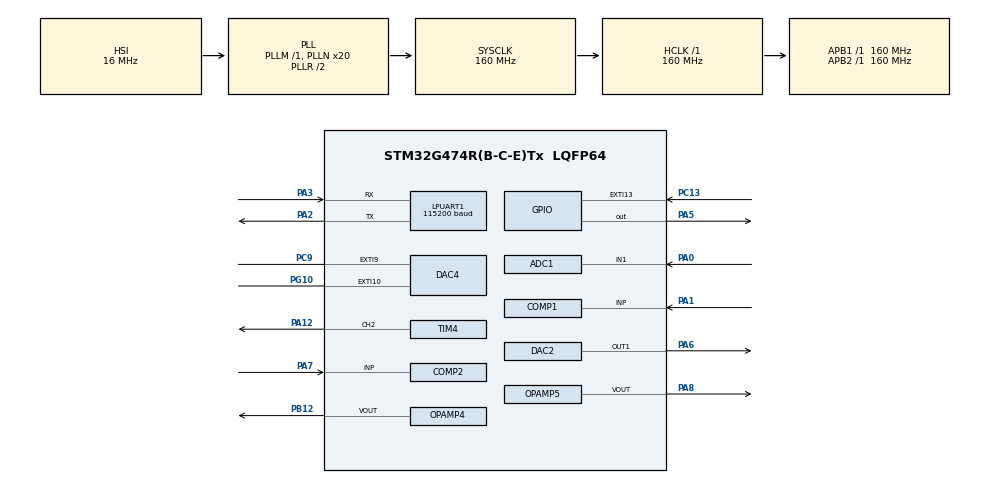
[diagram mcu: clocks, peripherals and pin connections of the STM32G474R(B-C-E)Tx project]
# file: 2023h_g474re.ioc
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ADC1.Channel-0\#ChannelRegularConversion=ADC_CHANNEL_1
ADC1.ContinuousConvMode=DISABLE
ADC1.DataAlign=ADC_DATAALIGN_LEFT
ADC1.ExternalTrigConv=ADC_EXTERNALTRIG_T3_TRGO
ADC1.NbrOfConversionFlag=1
ADC1.OffsetNumber-0\#ChannelRegularConversion=ADC_OFFSET_NONE
ADC1.Rank-0\#ChannelRegularConversion=1
ADC1.SamplingTime-0\#ChannelRegularConversion=ADC_SAMPLETIME_6CYCLES_5
ADC1.master=1
COMP1.Hysteresis=COMP_HYSTERESIS_50MV
COMP1.TriggerMode=COMP_TRIGGERMODE_IT_RISING
COMP2.Hysteresis=COMP_HYSTERESIS_20MV
COMP2.TriggerMode=COMP_TRIGGERMODE_IT_RISING
DAC2.DAC_SampleAndHold-DAC_OUT1=DAC_SAMPLEANDHOLD_DISABLE
DAC2.DAC_Trigger_OUT1-DAC_OUT1=DAC_TRIGGER_NONE
DAC4.DAC_Channel-DAC_OUT2_Int=DAC_CHANNEL_2
DAC4.DAC_Trigger_OUT1-DAC_OUT1_Int=DAC_TRIGGER_EXT_IT9
DAC4.DAC_Trigger_OUT2-DAC_OUT2_Int=DAC_TRIGGER_EXT_IT9
Dma.ADC1.0.Direction=DMA_PERIPH_TO_MEMORY
Dma.ADC1.0.EventEnable=DISABLE
Dma.ADC1.0.Instance=DMA1_Channel1
Dma.ADC1.0.MemDataAlignment=DMA_MDATAALIGN_HALFWORD
Dma.ADC1.0.MemInc=DMA_MINC_ENABLE
Dma.ADC1.0.Mode=DMA_NORMAL
Dma.ADC1.0.PeriphDataAlignment=DMA_PDATAALIGN_HALFWORD
Dma.ADC1.0.PeriphInc=DMA_PINC_DISABLE
Dma.ADC1.0.Polarity=HAL_DMAMUX_REQ_GEN_RISING
Dma.ADC1.0.Priority=DMA_PRIORITY_VERY_HIGH
Dma.ADC1.0.RequestNumber=1
Dma.ADC1.0.SignalID=NONE
Dma.ADC1.0.SyncEnable=DISABLE
Dma.ADC1.0.SyncPolarity=HAL_DMAMUX_SYNC_NO_EVENT
Dma.ADC1.0.SyncRequestNumber=1
Dma.ADC1.0.SyncSignalID=NONE
Dma.DAC4_CH1.1.Direction=DMA_MEMORY_TO_PERIPH
Dma.DAC4_CH1.1.EventEnable=DISABLE
Dma.DAC4_CH1.1.Instance=DMA1_Channel2
Dma.DAC4_CH1.1.MemDataAlignment=DMA_MDATAALIGN_HALFWORD
Dma.DAC4_CH1.1.MemInc=DMA_MINC_ENABLE
Dma.DAC4_CH1.1.Mode=DMA_CIRCULAR
Dma.DAC4_CH1.1.PeriphDataAlignment=DMA_PDATAALIGN_WORD
Dma.DAC4_CH1.1.PeriphInc=DMA_PINC_DISABLE
Dma.DAC4_CH1.1.Polarity=HAL_DMAMUX_REQ_GEN_RISING
Dma.DAC4_CH1.1.Priority=DMA_PRIORITY_VERY_HIGH
Dma.DAC4_CH1.1.RequestNumber=1
Dma.DAC4_CH1.1.SignalID=NONE
Dma.DAC4_CH1.1.SyncEnable=DISABLE
Dma.DAC4_CH1.1.SyncPolarity=HAL_DMAMUX_SYNC_NO_EVENT
Dma.DAC4_CH1.1.SyncRequestNumber=1
Dma.DAC4_CH1.1.SyncSignalID=NONE
Dma.DAC4_CH2.2.Direction=DMA_MEMORY_TO_PERIPH
Dma.DAC4_CH2.2.EventEnable=DISABLE
Dma.DAC4_CH2.2.Instance=DMA1_Channel3
Dma.DAC4_CH2.2.MemDataAlignment=DMA_MDATAALIGN_HALFWORD
Dma.DAC4_CH2.2.MemInc=DMA_MINC_ENABLE
Dma.DAC4_CH2.2.Mode=DMA_CIRCULAR
Dma.DAC4_CH2.2.PeriphDataAlignment=DMA_PDATAALIGN_WORD
Dma.DAC4_CH2.2.PeriphInc=DMA_PINC_DISABLE
Dma.DAC4_CH2.2.Polarity=HAL_DMAMUX_REQ_GEN_RISING
Dma.DAC4_CH2.2.Priority=DMA_PRIORITY_VERY_HIGH
Dma.DAC4_CH2.2.RequestNumber=1
Dma.DAC4_CH2.2.SignalID=NONE
Dma.DAC4_CH2.2.SyncEnable=DISABLE
Dma.DAC4_CH2.2.SyncPolarity=HAL_DMAMUX_SYNC_NO_EVENT
Dma.DAC4_CH2.2.SyncRequestNumber=1
Dma.DAC4_CH2.2.SyncSignalID=NONE
Dma.Request0=ADC1
Dma.Request1=DAC4_CH1
Dma.Request2=DAC4_CH2
LPUART1.BaudRate=115200
LPUART1.FIFOMode=UART_FIFOMODE_ENABLE
Mcu.Family=STM32G4
Mcu.Name=STM32G474R(B-C-E)Tx
Mcu.Package=LQFP64
NUCLEO-G474RE.BUTTON=0
NUCLEO-G474RE.LD2=true
NUCLEO-G474RE.VCP=false
NVIC.COMP1_2_3_IRQn=true\:0\:0\:false\:false\:true\:false\:true\:true
NVIC.DMA1_Channel1_IRQn=true\:0\:0\:false\:false\:true\:false\:true\:true
NVIC.DMA1_Channel2_IRQn=true\:0\:0\:false\:false\:true\:false\:true\:true
NVIC.DMA1_Channel3_IRQn=true\:0\:0\:false\:false\:true\:false\:true\:true
NVIC.EXTI15_10_IRQn=true\:0\:0\:false\:false\:true\:true\:true\:true
NVIC.PriorityGroup=NVIC_PRIORITYGROUP_4
NVIC.TIM4_IRQn=true\:0\:0\:false\:false\:true\:true\:true\:true
OPAMP4.PowerMode=OPAMP_POWERMODE_HIGHSPEED
OPAMP5.PowerMode=OPAMP_POWERMODE_HIGHSPEED
PA0.Mode=IN1-Single-Ended
PA0.Signal=ADC1_IN1
PA1.Mode=INP
PA1.Signal=COMP1_INP
PA12.Signal=S_TIM4_CH2
PA13.GPIO_Label=T_SWDIO
PA13.Mode=JTAG_4_pins
PA13.Signal=SYS_JTMS-SWDIO
PA14.GPIO_Label=T_SWCLK
PA14.Mode=JTAG_4_pins
PA14.Signal=SYS_JTCK-SWCLK
PA15.Mode=JTAG_4_pins
PA15.Signal=SYS_JTDI
PA2.Mode=Asynchronous
PA2.Signal=LPUART1_TX
PA3.Mode=Asynchronous
PA3.Signal=LPUART1_RX
PA5.Signal=GPIO_Output
PA6.Signal=COMP_DAC21_group
PA7.Mode=INP
PA7.Signal=COMP2_INP
PA8.Mode=Follower-DAC_OUT2-INP
PA8.Signal=OPAMP5_VOUT
PB12.Mode=Follower-DAC_OUT2-INP
PB12.Signal=OPAMP4_VOUT
PB3.GPIO_Label=T_SWO
PB3.Mode=JTAG_4_pins
PB3.Signal=SYS_JTDO-SWO
PC13.Signal=GPXTI13
PC14-OSC32_IN.GPIO_Label=RCC_OSC32_IN
PC14-OSC32_IN.Mode=LSE-External-Oscillator
PC14-OSC32_IN.Signal=RCC_OSC32_IN
PC15-OSC32_OUT.GPIO_Label=RCC_OSC32_OUT
PC15-OSC32_OUT.Mode=LSE-External-Oscillator
PC15-OSC32_OUT.Signal=RCC_OSC32_OUT
PC9.Signal=GPXTI9
PF0-OSC_IN.GPIO_Label=RCC_OSC_IN
PF0-OSC_IN.Mode=HSE-External-Oscillator
PF0-OSC_IN.Signal=RCC_OSC_IN
PF1-OSC_OUT.GPIO_Label=RCC_OSC_OUT
PF1-OSC_OUT.Mode=HSE-External-Oscillator
PF1-OSC_OUT.Signal=RCC_OSC_OUT
PG10-NRST.Signal=GPXTI10
ProjectManager.HeapSize=0x200
ProjectManager.StackSize=0x400
ProjectManager.TargetToolchain=CMake
RCC.ADC12Freq_Value=160000000
RCC.ADC345Freq_Value=160000000
RCC.AHBFreq_Value=160000000
RCC.APB1Freq_Value=160000000
RCC.APB1TimFreq_Value=160000000
RCC.APB2Freq_Value=160000000
RCC.APB2TimFreq_Value=160000000
RCC.CortexFreq_Value=160000000
RCC.EXTERNAL_CLOCK_VALUE=12288000
RCC.HCLKFreq_Value=160000000
RCC.HSE_VALUE=24000000
RCC.HSI48_VALUE=48000000
RCC.HSI_VALUE=16000000
RCC.PLLN=20
RCC.RTCClockSelection=RCC_RTCCLKSOURCE_LSE
RCC.SYSCLKFreq_VALUE=160000000
RCC.SYSCLKSource=RCC_SYSCLKSOURCE_PLLCLK
RCC.USBFreq_Value=160000000
RCC.VCOOutputFreq_Value=320000000
SH.COMP_DAC21_group.0=DAC2_OUT1,DAC_OUT1
SH.S_TIM4_CH2.0=TIM4_CH2,PWM Generation2 CH2
TIM3.AutoReloadPreload=TIM_AUTORELOAD_PRELOAD_ENABLE
TIM3.PeriodNoDither=10-1
TIM3.Prescaler=16-1
TIM3.TIM_MasterOutputTrigger=TIM_TRGO_UPDATE
TIM4.AutoReloadPreload=TIM_AUTORELOAD_PRELOAD_ENABLE
TIM4.Channel-PWM\ Generation2\ CH2=TIM_CHANNEL_2
TIM4.OCFastMode_PWM-PWM\ Generation2\ CH2=TIM_OCFAST_ENABLE
TIM4.PulseNoDither_2=100
TIM4.TIM_MasterOutputTrigger=TIM_TRGO_UPDATE
TIM6.AutoReloadPreload=TIM_AUTORELOAD_PRELOAD_ENABLE
TIM6.Prescaler=0
TIM6.TIM_MasterOutputTrigger=TIM_TRGO_UPDATE
TIM7.AutoReloadPreload=TIM_AUTORELOAD_PRELOAD_ENABLE
TIM7.Prescaler=0
TIM7.TIM_MasterOutputTrigger=TIM_TRGO_UPDATE
TIM8.PeriodNoDither=9
TIM8.Prescaler=15
TIM8.TIM_MasterOutputTrigger=TIM_TRGO_UPDATE
VP_COMP1_VS_VREFINT12.Mode=VREFINT_12
VP_COMP2_VS_VREFINT12.Mode=VREFINT_12
VP_CORDIC_VS_CORDIC.Mode=CORDIC_Activate
VP_DAC4_VS_DACI1.Mode=DAC_OUT1_Int
VP_DAC4_VS_DACI2.Mode=DAC_OUT2_Int
VP_NUCLEO-G474RE_VS_BSP_COMMON.Mode=COMMON
VP_SYS_VS_DBSignals.Mode=DisableDeadBatterySignals
VP_TIM3_VS_ClockSourceINT.Mode=Internal
VP_TIM4_VS_ClockSourceINT.Mode=Internal
VP_TIM6_VS_ClockSourceINT.Mode=Enable_Timer
VP_TIM7_VS_ClockSourceINT.Mode=Enable_Timer
VP_TIM8_VS_ClockSourceINT.Mode=Internal
board=NUCLEO-G474RE

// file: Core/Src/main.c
/* USER CODE BEGIN Header */
/**
 ******************************************************************************
 * @file           : main.c
 * @brief          : Main program body
 ******************************************************************************
 * @attention
 *
 * Copyright (c) 2025 STMicroelectronics.
 * All rights reserved.
 *
 * This software is licensed under terms that can be found in the LICENSE file
 * in the root directory of this software component.
 * If no LICENSE file comes with this software, it is provided AS-IS.
 *
 ******************************************************************************
 */
/* USER CODE END Header */
#include "main.h"
#include "adc.h"
#include "comp.h"
#include "cordic.h"
#include "dac.h"
#include "dma.h"
#include "gpio.h"
#include "opamp.h"
#include "tim.h"
#include "usart.h"

/* USER CODE BEGIN Includes */
#include "arm_math.h"
#include <stdio.h>
#include <stdlib.h>
/* USER CODE END Includes */

/* USER CODE BEGIN PD */
#define __FPU_PRESENT 1U
/* USER CODE END PD */

void SystemClock_Config(void);
/* USER CODE BEGIN PFP */
// void SET_ADC_TIM_FREQ(TIM_HandleTypeDef *htim, uint16_t wavelen, uint32_t
// freq);
void SET_DAC_TIM_FREQ(TIM_HandleTypeDef *htim, uint16_t wavelen, uint32_t freq,
                      uint16_t timclk_Mhz);
void SET_DAC_TIM_PHASE(TIM_HandleTypeDef *htim, uint16_t wavelen,
                       float32_t phase);
void ADD_DAC_TIM(TIM_HandleTypeDef *htim);
void DEC_DAC_TIM(TIM_HandleTypeDef *htim);

void hamming_window(q15_t *pWindow);
uint16_t *generate_sine_wave_table(uint32_t table_size, uint8_t periods,
                                   uint16_t amplitude);
uint16_t *generate_cosine_wave_table(uint32_t table_size, uint8_t periods,
                                     uint16_t amplitude);
/* USER CODE END PFP */

/* USER CODE BEGIN 0 */
// #define SAMPLE_LENGTH 1024
#define FFT_LENGTH 1024
#define SAMPLE_RATES 1000000
#define TABLE_LENGTH 100
// #define TABLE_PERIODS 5

// q15_t cmplx_ang_out[FFT_LENGTH * 2] = {0};
uint8_t adc_conv_finished = 0;
uint8_t fft_finished = 0;
uint8_t cal_phase_err_finished = 1;
uint8_t start_adc = 0;

// DDS *stm32_dds;

// AD983X ad9834;
uint8_t comp_triggered = 0;
/* USER CODE END 0 */

int main(void) {

  /* USER CODE BEGIN 1 */
  uint16_t adc_value[FFT_LENGTH] = {0};
  uint32_t max_freq = 100;
  uint32_t sec_freq = 100;
  uint16_t table_periods_dac1;
  uint16_t table_periods_dac2;
  uint16_t *sintable_dac1 = NULL;
  uint16_t *sintable_dac2 = NULL;
  uint16_t *costable = NULL;
  /* USER CODE END 1 */

  /* MCU Configuration--------------------------------------------------------*/

  /* Reset of all peripherals, Initializes the Flash interface and the Systick.
   */
  HAL_Init();

  /* Configure the system clock */
  SystemClock_Config();

  /* Initialize all configured peripherals */
  MX_GPIO_Init();
  MX_DMA_Init();
  MX_ADC1_Init();
  MX_DAC4_Init();
  MX_CORDIC_Init();
  MX_OPAMP4_Init();
  MX_TIM6_Init();
  MX_TIM7_Init();
  MX_LPUART1_UART_Init();
  MX_TIM3_Init();
  MX_DAC2_Init();
  MX_TIM8_Init();
  MX_COMP1_Init();
  MX_TIM4_Init();
  MX_COMP2_Init();
  /* USER CODE BEGIN 2 */
  uint8_t str[] = "\r\n-------------USART_Sending------------------\r\n";
  HAL_UART_Transmit(&hlpuart1, str, sizeof(str) / sizeof(str[0]), 40);
  HAL_OPAMP_Start(&hopamp4);
  // HAL_OPAMP_Start(&hopamp5);
  HAL_DAC_Start(&hdac2, DAC_CHANNEL_1);

  // HAL_DMAEx_EnableMuxRequestGenerator(&hdma);
  /* USER CODE END 2 */

  /* Initialize led */
  BSP_LED_Init(LED_GREEN);

  /* Infinite loop */
  /* USER CODE BEGIN WHILE */
  float adc_dc_offset = 0;

  arm_rfft_instance_q15 forwardS;
  // arm_rfft_instance_q15 backwardS;
  // arm_rfft_init_q15(&forwardS, FFT_LENGTH, 0, 1);
  arm_rfft_init_1024_q15(&forwardS, 0, 1);
  // arm_rfft_init_q15(&backwardS, FFT_LENGTH, 1, 0);
  // arm_rfft_init_1024_q15(&S, 0, 0);

  HAL_TIM_Base_Start(&htim3);
  HAL_ADC_Start_DMA(&hadc1, (uint32_t *)adc_value, FFT_LENGTH);
  while (1) {
    if (!fft_finished && adc_conv_finished) {
      HAL_GPIO_WritePin(LED2_GPIO_PORT, LED2_PIN, GPIO_PIN_SET);
      for (int i = 0; i < FFT_LENGTH; i++) {
        uint8_t adc_fmt_tmp_str[20] = {0};
        sprintf((char *)adc_fmt_tmp_str, "adc: %d\n", adc_value[i]);
        HAL_UART_Transmit(&hlpuart1, adc_fmt_tmp_str,
                          strlen((char *)adc_fmt_tmp_str), 40);
      }

      // 计算adc_value的直流偏置
      for (uint8_t i = 0; i < 100; i++) {
        adc_dc_offset += (adc_value[i] >> 4);
      }
      adc_dc_offset /= 100.0f;

      q15_t fft_in[FFT_LENGTH] = {0};
      q15_t fft_out[FFT_LENGTH * 2] = {0};
      q15_t cmplx_mag_out[FFT_LENGTH * 2] = {0};
      // memcpy(fft_in, adc_value, FFT_LENGTH);
      for (size_t i = 0; i < FFT_LENGTH; ++i) {
        fft_in[i] = (int16_t)((int32_t)adc_value[i] - 32768);
      }

      float32_t h_window[FFT_LENGTH] = {0};
      q15_t h_window_q15[FFT_LENGTH] = {0};
      // hamming_window(h_window);
      arm_hanning_f32(h_window, FFT_LENGTH);
      arm_float_to_q15(h_window, h_window_q15, FFT_LENGTH);
      arm_mult_q15(fft_in, h_window_q15, fft_in, FFT_LENGTH);
      arm_rfft_q15(&forwardS, fft_in, fft_out);
      arm_cmplx_mag_q15(fft_out, cmplx_mag_out, FFT_LENGTH / 2 + 1);

      uint8_t fft_banner_str[] =
          "\r\n-------------FFT_Result_Sending------------------\r\n";
      HAL_UART_Transmit(&hlpuart1, fft_banner_str,
                        strlen((char *)fft_banner_str), 40);
      for (int i = 0; i < FFT_LENGTH / 4; i++) {
        uint8_t fft_fmt_tmp_str[50] = {0};
        sprintf((char *)fft_fmt_tmp_str, "fft(%dk) : %d\n", i,
                cmplx_mag_out[i] * 10);
        HAL_UART_Transmit(&hlpuart1, fft_fmt_tmp_str,
                          strlen((char *)fft_fmt_tmp_str), 40);
      }

      // 去除直流分量
      cmplx_mag_out[0] = 0;
      cmplx_mag_out[1] = 0;

      // 查找频谱的第一个峰值
      q15_t max_result = 0;
      uint32_t max_index = 0;
      arm_max_q15(cmplx_mag_out, FFT_LENGTH / 2 + 1, &max_result, &max_index);
      cmplx_mag_out[max_index] = 0;

      // 查找频谱的第二个峰值
      q15_t sec_result = 0;
      uint32_t sec_index = 0;
      arm_max_q15(cmplx_mag_out, FFT_LENGTH / 2 + 1, &sec_result, &sec_index);

      // 将频率近似到5的整数倍
      max_index = ((max_index + 2) / 5) * 5;
      sec_index = ((sec_index + 2) / 5) * 5;

      max_freq = max_index * 1000;
      sec_freq = sec_index * 1000;

      uint8_t cmp_str_buf[50] = {0};
      sprintf((char *)cmp_str_buf, "max: %uk, sec: %uk\r\n",
              (unsigned int)max_index, (unsigned int)sec_index);
      HAL_UART_Transmit(&hlpuart1, cmp_str_buf, strlen((char *)cmp_str_buf),
                        40);

      table_periods_dac1 = max_index / 10;
      table_periods_dac2 = sec_index / 10;
      sintable_dac1 =
          generate_sine_wave_table(TABLE_LENGTH, table_periods_dac1, 1024);
      sintable_dac2 =
          generate_sine_wave_table(TABLE_LENGTH, table_periods_dac2, 1024);
      // costable = generate_cosine_wave_table(TABLE_LENGTH, 1, 1024);

      uint32_t trg_freq = TABLE_LENGTH * sec_freq / table_periods_dac1;
      uint8_t Trigger_UART_buf[50] = {0};
      sprintf((char *)Trigger_UART_buf, "Trigger freq: %d\n", (int)trg_freq);
      HAL_UART_Transmit(&hlpuart1, Trigger_UART_buf,
                        strlen((char *)Trigger_UART_buf), 40);

      HAL_COMP_Start(&hcomp2);
      SET_DAC_TIM_FREQ(&htim4, TABLE_LENGTH / table_periods_dac1, max_freq,
                       160);
      SET_DAC_TIM_FREQ(&htim7, TABLE_LENGTH / table_periods_dac2, sec_freq,
                       160);
      HAL_TIM_Base_Start(&htim4);
      HAL_TIM_Base_Start(&htim7);

      // uint8_t dactable_str_buf[50] = {0};
      // for (uint16_t i = 0; i < TABLE_LENGTH; i++) {
      //   sprintf((char *)dactable_str_buf, "dactable[%d]: %d\n", i,
      //   sintable[i]); HAL_UART_Transmit(&hlpuart1, dactable_str_buf,
      //                     strlen((char *)dactable_str_buf), 40);
      // }

      HAL_DAC_Start_DMA(&hdac4, DAC_CHANNEL_1, (uint32_t *)sintable_dac1,
                        TABLE_LENGTH, DAC_ALIGN_12B_R);
      HAL_DAC_Start_DMA(&hdac4, DAC_CHANNEL_2, (uint32_t *)sintable_dac2,
                        TABLE_LENGTH, DAC_ALIGN_12B_R);

      HAL_GPIO_WritePin(LED2_GPIO_PORT, LED2_PIN, GPIO_PIN_RESET);
      HAL_ADC_Start_DMA(&hadc1, (uint32_t *)adc_value, FFT_LENGTH);

      q15_t adc_val_cmp_q15[FFT_LENGTH] = {0};
      for (size_t i = 0; i < FFT_LENGTH; ++i) {
        adc_val_cmp_q15[i] = (int16_t)((int32_t)adc_value[i] - 32768);
      }
      q15_t adc_val_min_q15 = 0;
      float32_t adc_val_max_float = 0;
      arm_min_no_idx_q15(adc_val_cmp_q15, 1000, &adc_val_min_q15);
      arm_q15_to_float(&adc_val_min_q15, &adc_val_max_float, 1);

      uint8_t adc_val_max_cmp_buf[40] = {0};
      sprintf((char *)adc_val_max_cmp_buf, "cmp_val: %d",
              (int)adc_val_max_float * 1000);
      HAL_UART_Transmit(&hlpuart1, adc_val_max_cmp_buf,
                        strlen((char *)adc_val_max_cmp_buf), HAL_MAX_DELAY);
      HAL_DAC_SetValue(&hdac2, DAC_CHANNEL_1, DAC_ALIGN_12B_L,
                       adc_val_min_q15 + 35768);

      // __HAL_TIM_SET_COMPARE(&htim4, TIM_CHANNEL_2,
      //                       __HAL_TIM_GET_AUTORELOAD(&htim4) / 2);
      // HAL_TIM_PWM_Start(&htim4, TIM_CHANNEL_2);
      // HAL_TIM_IC_Start_IT(&htim4, TIM_CHANNEL_1);
      // HAL_COMP_Start(&hcomp1);
      adc_conv_finished = 0;
      fft_finished = 1;
    }
    /*if (fft_finished && !cal_phase_err_finished) {
          // HAL_COMP_Start(&hcomp1);
          start_adc = 0;
          while (!start_adc) // 等待 dac dma 完成一次传输到达零点
            ;

          // SET_ADC_TIM_FREQ(&htim3, 100, max_freq * 1000);
          HAL_ADC_Start_DMA(&hadc1, (uint32_t *)adc_value, TABLE_LENGTH);
          adc_conv_finished = 0;
          while (!adc_conv_finished) // 等待 adc 采样完成
            ;

          // for (uint16_t i = 0; i < 1000; i++) {
          //   uint8_t adc_val_buf[30] = {0};
          //   int16_t adc_val = ((adc_value[i] >> 4) - (int16_t)adc_dc_offset);
          //   sprintf((char *)adc_val_buf, "adc_val: %d\n", adc_val);
          //   HAL_UART_Transmit(&hlpuart1, adc_val_buf, strlen((char
          //   *)adc_val_buf),
          //                     40);
          // }
          // for (uint16_t i = 0; i < 1000; i++) {
          //   uint8_t sin_buf[30] = {0};
          //   int16_t sin_val = (sintable[i] - 512);
          //   sprintf((char *)sin_buf, "sin_val: %d\n", sin_val);
          //   HAL_UART_Transmit(&hlpuart1, sin_buf, strlen((char *)sin_buf),
       40);
          // }

          // uint16_t adc_value_test[100] = {0};
          // for (uint32_t i = 0; i < 100; i++) {
          //   float value = 1024 * (sin(2 * PI * i / 100 + PI / 4) + 1.0f)
       / 2.0f;
          //   // 将值映射到 [100, amplitude]
          //   adc_value_test[i] = (uint16_t)value;
          // }
          ;

          /**
          // 计算与参考波形的相关性
          float sum_sin = 0;
          float sum_cos = 0;
          for (uint16_t i = 0; i < 1000; i++) {
            // 转换为有符号值并计算相关性
            int16_t adc_val = ((adc_value[i] >> 4) - (int16_t)adc_dc_offset);
            // int16_t adc_val = ((adc_value_test[i] >> 4) - 512);
            int16_t sin_val = (sintable[i] - 512);
            int16_t cos_val = (costable[i] - 512);

            sum_sin += adc_val * sin_val;
            sum_cos += adc_val * cos_val;
          }

          float32_t phase_err = 0;
          float32_t delay_phase = 0;
          // 计算相位误差
          arm_atan2_f32(sum_sin, sum_cos, &phase_err);
          // phase_err = atan2(sum_sin, sum_cos);

          // if (phase_err > 0) {
          //   DEC_DAC_TIM(&htim6);
          // } else {
          //   ADD_DAC_TIM(&htim6);
          // }
          phase_err = phase_err - PI / 2;
          if (phase_err < 0) {
            delay_phase = -phase_err;
          } else {
            delay_phase = 2 * PI - phase_err;
          }

          // if (phase_err < 0) {
          //   phase_err += 2 * PI;
          // }

          // uint8_t phase_err_buf[50] = {0};
          // sprintf((char *)phase_err_buf, "phase_err: %d\n",
          //         (uint16_t)(phase_err * 1000));
          // HAL_UART_Transmit(&hlpuart1, phase_err_buf, strlen((char
          // *)phase_err_buf),
          //                   50);

          // 立即应用相位调整
          // SET_DAC_TIM_PHASE(&htim6, TABLE_LENGTH / 10, delay_phase);
          // HAL_Delay(1);
          cal_phase_err_finished = 1;
         }*/
    // HAL_ADC_Start_DMA(&hadc1, (uint32_t *)adc_value, SAMPLE_TIMES);
    if (fft_finished && comp_triggered) {
      HAL_DAC_Stop_DMA(&hdac4, DAC_CHANNEL_1);
      HAL_DAC_Stop_DMA(&hdac4, DAC_CHANNEL_2);
      HAL_DAC_Start_DMA(&hdac4, DAC_CHANNEL_1, (uint32_t *)sintable_dac1,
                        TABLE_LENGTH, DAC_ALIGN_12B_R);
      HAL_DAC_Start_DMA(&hdac4, DAC_CHANNEL_2, (uint32_t *)sintable_dac2,
                        TABLE_LENGTH, DAC_ALIGN_12B_R);

      for (int16_t i = 0; i < 10; i++) {
        start_adc = 0;
        while (!start_adc)
          ; // 等待 dac dma 完成一次传输到达零点
      }
      comp_triggered = 0;
    }
    /* USER CODE END WHILE */

    /* USER CODE BEGIN 3 */
  }
  // dds_free(stm32_dds);
  free(sintable_dac1);
  free(sintable_dac2);
  free(costable);
  /* USER CODE END WHILE */

  /* USER CODE BEGIN 3 */
  /* USER CODE END 3 */
}

void SystemClock_Config(void) {
  RCC_OscInitTypeDef RCC_OscInitStruct = {0};
  RCC_ClkInitTypeDef RCC_ClkInitStruct = {0};

  /** Configure the main internal regulator output voltage
   */
  HAL_PWREx_ControlVoltageScaling(PWR_REGULATOR_VOLTAGE_SCALE1_BOOST);

  /** Initializes the RCC Oscillators according to the specified parameters
   * in the RCC_OscInitTypeDef structure.
   */
  RCC_OscInitStruct.OscillatorType = RCC_OSCILLATORTYPE_HSI;
  RCC_OscInitStruct.HSIState = RCC_HSI_ON;
  RCC_OscInitStruct.HSICalibrationValue = RCC_HSICALIBRATION_DEFAULT;
  RCC_OscInitStruct.PLL.PLLState = RCC_PLL_ON;
  RCC_OscInitStruct.PLL.PLLSource = RCC_PLLSOURCE_HSI;
  RCC_OscInitStruct.PLL.PLLM = RCC_PLLM_DIV1;
  RCC_OscInitStruct.PLL.PLLN = 20;
  RCC_OscInitStruct.PLL.PLLP = RCC_PLLP_DIV2;
  RCC_OscInitStruct.PLL.PLLQ = RCC_PLLQ_DIV2;
  RCC_OscInitStruct.PLL.PLLR = RCC_PLLR_DIV2;
  if (HAL_RCC_OscConfig(&RCC_OscInitStruct) != HAL_OK) {
    Error_Handler();
  }

  /** Initializes the CPU, AHB and APB buses clocks
   */
  RCC_ClkInitStruct.ClockType = RCC_CLOCKTYPE_HCLK | RCC_CLOCKTYPE_SYSCLK |
                                RCC_CLOCKTYPE_PCLK1 | RCC_CLOCKTYPE_PCLK2;
  RCC_ClkInitStruct.SYSCLKSource = RCC_SYSCLKSOURCE_PLLCLK;
  RCC_ClkInitStruct.AHBCLKDivider = RCC_SYSCLK_DIV1;
  RCC_ClkInitStruct.APB1CLKDivider = RCC_HCLK_DIV1;
  RCC_ClkInitStruct.APB2CLKDivider = RCC_HCLK_DIV1;

  if (HAL_RCC_ClockConfig(&RCC_ClkInitStruct, FLASH_LATENCY_4) != HAL_OK) {
    Error_Handler();
  }
}

/* USER CODE BEGIN 4 */
// void HAL_COMP_TriggerCallback(COMP_HandleTypeDef *hcomp) {
//   if (hcomp == &hcomp1) {
//     if (fft_finished) {
//       HAL_DAC_Stop_DMA(&hdac4, DAC_CHANNEL_1);
//       HAL_DAC_Stop_DMA(&hdac4, DAC_CHANNEL_2);
//       HAL_DAC_Start_DMA(&hdac4, DAC_CHANNEL_1, (uint32_t *)sintable,
//                         TABLE_LENGTH, DAC_ALIGN_12B_R);
//       HAL_DAC_Start_DMA(&hdac4, DAC_CHANNEL_2, (uint32_t *)sintable,
//                         TABLE_LENGTH, DAC_ALIGN_12B_R);
//       // HAL_GPIO_TogglePin(COMP_OUT_TEST_GPIO_Port, COMP_OUT_TEST_Pin);
//     }
//   }
// }
//

void HAL_COMP_TriggerCallback(COMP_HandleTypeDef *hcomp) {
  if (hcomp == &hcomp1) {
    if (fft_finished && !comp_triggered) {
      comp_triggered = 1;
    }
  }
}

// void HAL_TIM_IC_CaptureCallback(TIM_HandleTypeDef *htim) {
//   if (htim == &htim4) {
//     __HAL_TIM_SetCounter(&htim4, 0); // 10kHz信号每来一个上升沿重新对齐
//   }
// }

void HAL_ADC_ConvCpltCallback(ADC_HandleTypeDef *hadc) {
  if (hadc == &hadc1) {
    adc_conv_finished = 1;
  }
}

void HAL_DAC_ConvCpltCallbackCh1(DAC_HandleTypeDef *hdac) {
  if (hdac == &hdac4) {
    start_adc = 1;
    if (cal_phase_err_finished) {
      cal_phase_err_finished = 0;
    }
  }
}

// void HAL_GPIO_EXTI_Callback(uint16_t GPIO_Pin) {
//   if (GPIO_Pin == GPIO_PIN_3) {
//     if (fft_finished) {
//       // HAL_DAC_Stop_DMA(&hdac4, DAC_CHANNEL_1);
//       // HAL_DAC_Stop_DMA(&hdac4, DAC_CHANNEL_2);
//       HAL_DAC_Start_DMA(&hdac4, DAC_CHANNEL_1, (uint32_t *)sintable,
//                         TABLE_LENGTH - 2, DAC_ALIGN_12B_R);
//       HAL_DAC_Start_DMA(&hdac4, DAC_CHANNEL_2, (uint32_t *)sintable,
//                         TABLE_LENGTH - 2, DAC_ALIGN_12B_R);
//       HAL_GPIO_TogglePin(COMP_OUT_TEST_GPIO_Port, COMP_OUT_TEST_Pin);
//     }
//   }
// }

// void SET_ADC_TIM_FREQ(TIM_HandleTypeDef *htim, uint16_t wavelen,
//                       uint32_t freq) {
//   uint16_t psc = __HAL_TIM_GET_CLOCKDIVISION(htim);
//   uint16_t arr = 160000000 / (psc + 1) / freq / wavelen - 1;
//   __HAL_TIM_SET_AUTORELOAD(htim, arr);
// }

void SET_DAC_TIM_FREQ(TIM_HandleTypeDef *htim, uint16_t wavelen, uint32_t freq,
                      uint16_t timclk_Mhz) {
  uint32_t arr = timclk_Mhz * 1000000 / (wavelen * freq) - 1;
  __HAL_TIM_SET_AUTORELOAD(htim, arr);
}

void SET_DAC_TIM_PHASE(TIM_HandleTypeDef *htim, uint16_t wavelen,
                       float32_t phase) {
  uint16_t period = __HAL_TIM_GET_AUTORELOAD(htim) + 1;
  uint16_t phase_cnt = wavelen * phase * period / (2 * PI);
  uint32_t cnt = __HAL_TIM_GET_COUNTER(htim) + 65535 - phase_cnt;
  // HAL_DAC_SetValue(&hdac2, DAC_CHANNEL_1, DAC_ALIGN_12B_R, phase_cnt / 10);
  __HAL_TIM_SetCounter(htim, cnt);
  // __HAL_TIM_SetCounter(htim, __HAL_TIM_GetCounter(htim) + 65535 -
  //                                16000 * phase / 2 / PI);
}

uint16_t *generate_sine_wave_table(uint32_t table_size, uint8_t periods,
                                   uint16_t amplitude) {
  // 分配波表内存
  uint16_t *wave_table = (uint16_t *)malloc(table_size * sizeof(uint16_t));
  if (wave_table == NULL) {
    return NULL; // 内存分配失败
  }

  // 计算角频率
  float omega = 2.0f * M_PI * periods / table_size;

  // 填充波表
  for (uint32_t i = 0; i < table_size; i++) {
    float value = amplitude * (sin(omega * i) + 1.0f) / 2.0f;
    // 将值映射到 [100, amplitude]
    wave_table[i] = (uint16_t)value;
  }

  return wave_table;
}

uint16_t *generate_cosine_wave_table(uint32_t table_size, uint8_t periods,
                                     uint16_t amplitude) {
  // 分配波表内存
  uint16_t *wave_table = (uint16_t *)malloc(table_size * sizeof(uint16_t));
  if (wave_table == NULL) {
    return NULL; // 内存分配失败
  }

  // 计算角频率
  float omega = 2.0f * M_PI * periods / table_size;

  // 填充波表
  for (uint32_t i = 0; i < table_size; i++) {
    float value = amplitude * (cos(omega * i) + 1.0f) / 2.0f;
    // 将值映射到 [100, amplitude]
    wave_table[i] = (uint16_t)value;
  }

  return wave_table;
}
/* USER CODE END 4 */

void Error_Handler(void) {
  /* USER CODE BEGIN Error_Handler_Debug */
  /* User can add his own implementation to report the HAL error return state
   */
  __disable_irq();
  while (1) {
  }
  /* USER CODE END Error_Handler_Debug */
}

#ifdef USE_FULL_ASSERT
/**
 * @brief  Reports the name of the source file and the source line number
 *         where the assert_param error has occurred.
 * @param  file: pointer to the source file name
 * @param  line: assert_param error line source number
 * @retval None
 */
void assert_failed(uint8_t *file, uint32_t line) {
  /* USER CODE BEGIN 6 */
  /* User can add his own implementation to report the file name and line
     number, ex: printf("Wrong parameters value: file %s on line %d\r\n",
     file, line) */
  /* USER CODE END 6 */
}
#endif /* USE_FULL_ASSERT */
